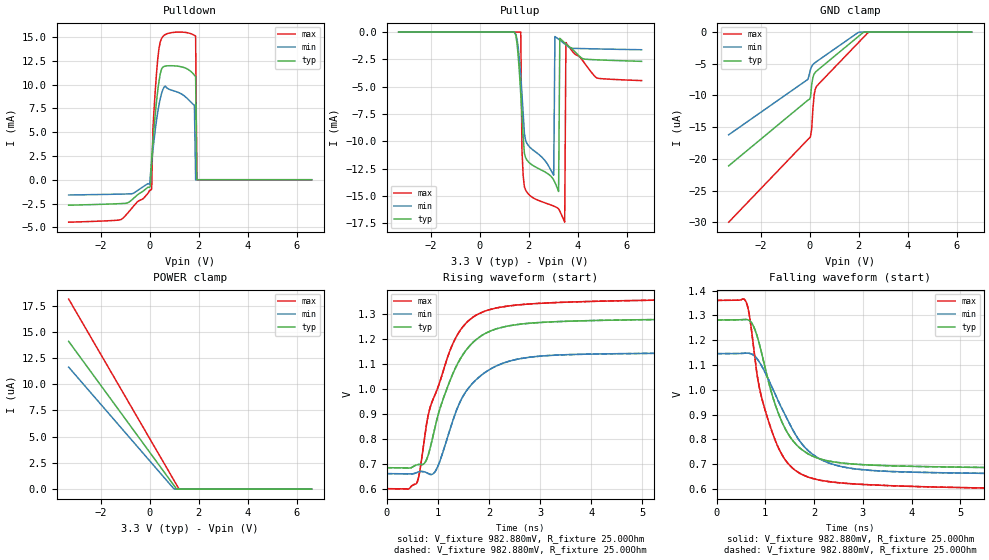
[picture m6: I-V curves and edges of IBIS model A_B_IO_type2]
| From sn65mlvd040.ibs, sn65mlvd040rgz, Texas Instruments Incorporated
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|   A/B type2 800mV output swing Model
[Model]   A_B_IO_type2
Model_type   I/O
|Signals   A/B
Polarity   Non-Inverting
Enable   Active-Low
Vinl = 0.8V
Vinh = 2V
Vmeas   = 1.4
Rref_diff   = 50
| C_comp   obtained at 20MHz
|   typ   min   max
|3-state   Nom PVT   Fast PVT   Slow PVT
C_comp   3.3699108pF  3.1019388pF   3.6276388pF
|High   Nom PVT   slow  PVT   fast PVT
|C_comp   6.7980444pF  5.1845612pF   7.7875563pF
|Low   Nom PVT   slow  PVT   fast PVT
|C_comp   6.2984537pF  5.3127649pF   6.9676168pF
[Voltage Range]   3.3   3.0   3.6
|Junction temperature
[Temperature Range]   37   97   -40
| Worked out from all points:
|   slope of the pulldown table from 0 to 0.495 V, typ, clamps not added: 39.7 ohm
|   falling waveform, V_fixture 982.880mV, R_fixture 25.00Ohm: 20-80 % time 625ps typ, 818ps min, 568ps max; typ from 1.28 V to 0.684 V
|   rising waveform, V_fixture 982.880mV, R_fixture 25.00Ohm: 20-80 % time 679ps typ, 697ps min, 653ps max; typ from 0.684 V to 1.28 V
|   rising waveform, V_fixture 982.880mV, R_fixture 25.00Ohm: 20-80 % time 679ps typ, 697ps min, 653ps max; typ from 0.684 V to 1.28 V
|   falling waveform, V_fixture 982.880mV, R_fixture 25.00Ohm: 20-80 % time 625ps typ, 818ps min, 568ps max; typ from 1.28 V to 0.684 V
|ambient temperature   25   85   -40
[Pulldown]
|   Voltage   I(typ)   I(min)   I(max)
-3.3V     -2.679mA   -1.605mA   -4.462mA
-862.3mV  -2.38mA    -1.49mA    -3.407mA
0V        -816.5uA   -501.2uA   -1.114mA
82.91mV   2.295mA    1.847mA    -965.6uA
132.7mV   3.966mA    3.079mA    5.308mA
381.4mV   10.35mA    7.881mA    13.81mA
580.4mV   11.9mA     9.697mA    15.16mA
878.9mV   11.98mA    9.427mA    15.45mA
1.824V    10.99mA    7.814mA    15.18mA
1.874V    10.83mA    22.3pA     15.1mA
1.924V    16.2pA     23.7pA     5pA
6.6V      900pA      2.35nA     350pA
[GND Clamp]
|   Voltage   I(typ)   I(min)   I(max)
-3.3V     -21.09uA   -16.2uA    -29.98uA
-66.33mV  -10.72uA   -7.439uA   -16.91uA
33.17mV   -10.29uA   -5.904uA   -16.5uA
82.91mV   -8.33uA    -5.416uA   -15.33uA
132.7mV   -7.148uA   -5.13uA    -12.09uA
182.4mV   -6.608uA   -4.94uA    -9.924uA
232.2mV   -6.335uA   -4.788uA   -8.955uA
281.9mV   -6.148uA   -4.649uA   -8.561uA
1.973V    -725.4nA   -71.78nA   -1.718uA
2.172V    -88.32nA   0A         -916.5nA
2.371V    0A         0A         -115.2nA
6.6V      0A         0A         0A
[Pullup]
|   Voltage   I(typ)   I(min)   I(max)
-3.3V     910pA      1.75nA     390pA
1.426V    -33.83uA   -37.74uA   22.7pA
1.675V    -5.676mA   -4.071mA   7pA
1.725V    -7.607mA   -5.702mA   -10.8mA
1.824V    -11.13mA   -9.294mA   -14.17mA
3.018V    -13.54mA   -13.1mA    -15.93mA
3.068V    -13.77mA   -409.3uA   -15.98mA
3.217V    -14.59mA   -652.8uA   -16.19mA
3.267V    -572.2uA   -738.4uA   -16.38mA
3.466V    -988.3uA   -1.086mA   -17.4mA
3.516V    -1.094mA   -1.173mA   -960.8uA
6.6V      -2.679mA   -1.616mA   -4.439mA
[POWER Clamp]
|   Voltage   I(typ)   I(min)   I(max)
-3.3V     14.09uA    11.63uA    18.12uA
978.4mV   389.5nA    58.69nA    892.6nA
1.078V    70.95nA    0A         491.9nA
1.177V    0A         0A         91.23nA
1.227V    0A         0A         0A
6.6V      0A         0A         0A
[Ramp]
R_load = 25.00Ohm
|   typ   min   max
dV/dt_r   358.589mV/679.014ps 291.473mV/696.904ps 456.511mV/652.507ps
dV/dt_f   358.589mV/625.456ps 291.473mV/817.951ps 456.511mV/568.206ps
[Falling Waveform]
V_fixture = 982.880mV
V_fixture_min = 904.010mV
V_fixture_max = 979.450mV
R_fixture = 25.00Ohm
|   Time   V(typ)   V(min)   V(max)
0s        1.282V     1.146V     1.361V
600ps     1.284V     1.149V     1.357V
680ps     1.279V     1.147V     1.293V
870ps     1.191V     1.115V     1.017V
1.07ns    1.03V      1.04V      871.1mV
1.38ns    854.4mV    909.4mV    726.4mV
1.74ns    760.5mV    784.9mV    660.1mV
2.21ns    717.2mV    712.7mV    632.9mV
2.89ns    699.7mV    680.3mV    620mV
7.5ns     683.9mV    660.1mV    599.8mV
[Rising Waveform]
V_fixture = 982.880mV
V_fixture_min = 904.010mV
V_fixture_max = 979.450mV
R_fixture = 25.00Ohm
|   Time   V(typ)   V(min)   V(max)
0s        683.9mV    660.1mV    599.8mV
590ps     695.2mV    664.5mV    622.8mV
650ps     697.3mV    668.5mV    669.9mV
770ps     711.2mV    665.2mV    844.7mV
940ps     839.8mV    665.7mV    973.4mV
1.23ns    1.028V     831.7mV    1.149V
1.48ns    1.134V     965.7mV    1.246V
1.79ns    1.204V     1.044V     1.3V
3.02ns    1.267V     1.132V     1.344V
7.5ns     1.282V     1.146V     1.361V
[Rising Waveform]
V_fixture = 982.880mV
V_fixture_min = 904.010mV
V_fixture_max = 979.450mV
R_fixture = 25.00Ohm
|   Time   V(typ)   V(min)   V(max)
0s        683.9mV    660.1mV    599.8mV
590ps     695.2mV    664.5mV    622.8mV
650ps     697.3mV    668.5mV    669.9mV
770ps     711.2mV    665.2mV    844.7mV
940ps     839.8mV    665.7mV    973.4mV
1.23ns    1.028V     831.7mV    1.149V
1.48ns    1.134V     965.7mV    1.246V
1.79ns    1.204V     1.044V     1.3V
3.02ns    1.267V     1.132V     1.344V
7.5ns     1.282V     1.146V     1.361V
[Falling Waveform]
V_fixture = 982.880mV
V_fixture_min = 904.010mV
V_fixture_max = 979.450mV
R_fixture = 25.00Ohm
|   Time   V(typ)   V(min)   V(max)
0s        1.282V     1.146V     1.361V
600ps     1.284V     1.149V     1.357V
680ps     1.279V     1.147V     1.293V
870ps     1.191V     1.115V     1.017V
1.07ns    1.03V      1.04V      871.1mV
1.38ns    854.4mV    909.4mV    726.4mV
1.74ns    760.5mV    784.9mV    660.1mV
2.21ns    717.2mV    712.7mV    632.9mV
2.89ns    699.7mV    680.3mV    620mV
7.5ns     683.9mV    660.1mV    599.8mV
